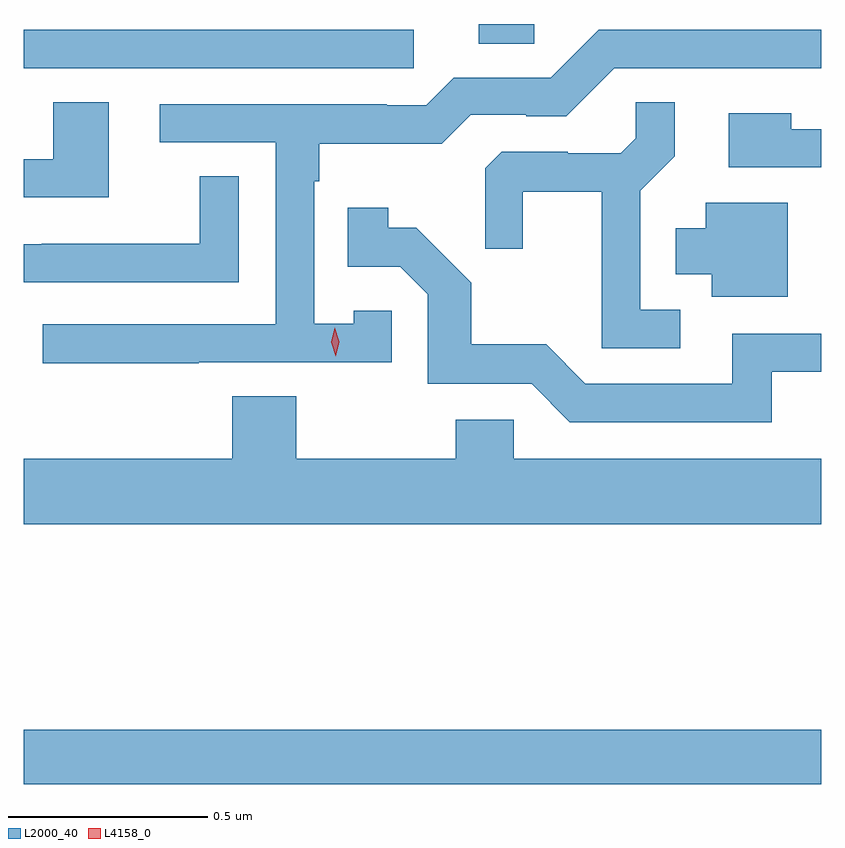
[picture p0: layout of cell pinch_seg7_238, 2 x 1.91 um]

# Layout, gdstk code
import gdstk
lib = gdstk.Library(unit=1e-6, precision=1e-09)
def R(c, l, rs):  # rectangles x0, y0, x1, y1
    for r in rs: c.add(gdstk.rectangle(r[:2], r[2:], *l))
def P(c, l, *ps):  # polygons
    for p in ps: c.add(gdstk.Polygon(p, *l))
L2000_40 = (2000, 40)
L4158_0 = (4158, 0)

pinch_seg7_238 = lib.new_cell('pinch_seg7_238')
R(pinch_seg7_238, L2000_40, [(629.812,1074.556,631.812,1074.692), (629.812,1076.352,630.79,1076.448), (630.953,1076.413,631.092,1076.463)])
P(pinch_seg7_238, L2000_40, [(630.251,1075.614),(630.735,1075.614),(630.735,1075.743),(630.639,1075.743),(630.639,1075.711),(630.54,1075.711),(630.54,1076.069),(630.553,1076.069),(630.553,1076.162),(630.86,1076.162),(630.933,1076.235),(631.072,1076.235),(631.072,1076.232),(631.173,1076.232),(631.293,1076.352),(631.812,1076.352),(631.812,1076.448),(631.254,1076.448),(631.134,1076.328),(630.891,1076.328),(630.822,1076.259),(630.722,1076.259),(630.722,1076.262),(630.153,1076.262),(630.153,1076.166),(630.444,1076.166),(630.444,1075.71),(629.859,1075.71),(629.859,1075.612),(630.251,1075.612)],
  [(630.025,1076.267),(629.885,1076.267),(629.885,1076.124),(629.812,1076.124),(629.812,1076.028),(630.025,1076.028)],
  [(631.459,1075.746),(631.359,1075.746),(631.359,1076.045),(631.445,1076.131),(631.445,1076.267),(631.347,1076.267),(631.347,1076.176),(631.31,1076.139),(631.176,1076.139),(631.176,1076.142),(631.011,1076.142),(630.97,1076.101),(630.97,1075.899),(631.064,1075.899),(631.064,1076.042),(631.262,1076.042),(631.262,1075.65),(631.459,1075.65)],
  [(631.812,1076.199),(631.737,1076.199),(631.737,1076.239),(631.581,1076.239),(631.581,1076.103),(631.812,1076.103)],
  [(630.351,1076.081),(630.253,1076.081),(630.253,1075.911),(629.857,1075.911),(629.857,1075.91),(629.812,1075.91),(629.812,1075.815),(630.351,1075.815)],
  [(631.729,1076.014),(631.523,1076.014),(631.523,1075.951),(631.448,1075.951),(631.448,1075.835),(631.538,1075.835),(631.538,1075.778),(631.729,1075.778)],
  [(631.688,1075.59),(631.812,1075.59),(631.812,1075.686),(631.589,1075.686),(631.589,1075.56),(631.221,1075.56),(631.123,1075.659),(630.934,1075.659),(630.934,1075.814),(630.796,1075.952),(630.726,1075.952),(630.726,1076.002),(630.625,1076.002),(630.625,1075.854),(630.756,1075.854),(630.825,1075.785),(630.825,1075.56),(631.086,1075.56),(631.182,1075.464),(631.688,1075.464)],
  [(631.812,1075.372),(631.041,1075.372),(631.041,1075.47),(630.895,1075.47),(630.895,1075.372),(630.495,1075.372),(630.495,1075.529),(630.335,1075.529),(630.335,1075.372),(629.812,1075.372),(629.812,1075.208),(631.812,1075.208)])
P(pinch_seg7_238, L4158_0, [(630.594,1075.629),(630.594,1075.629),(630.583,1075.665),(630.592,1075.701),(630.592,1075.701),(630.592,1075.701),(630.603,1075.666),(630.594,1075.629)])

lib.write_gds('pinch_seg7_238.gds')
